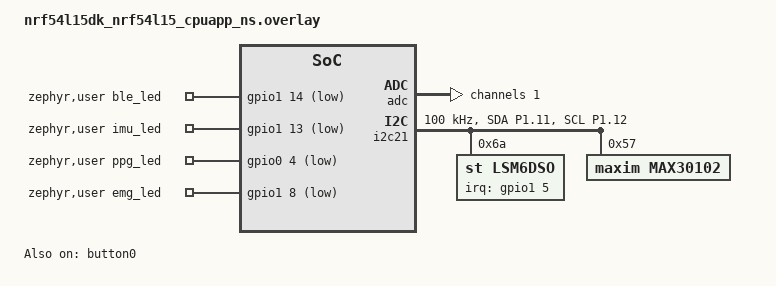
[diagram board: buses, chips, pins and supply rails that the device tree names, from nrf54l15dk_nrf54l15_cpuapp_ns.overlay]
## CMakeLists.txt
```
cmake_minimum_required(VERSION 3.20.0)
find_package(Zephyr REQUIRED HINTS $ENV{ZEPHYR_BASE})

project(firmware)

set(DTS_ROOT ${CMAKE_CURRENT_SOURCE_DIR})
list(APPEND ZEPHYR_EXTRA_MODULES ${CMAKE_CURRENT_SOURCE_DIR}/model)

target_sources(app PRIVATE 
    src/main.cpp
    src/ADC.c
    src/IMU.c
    src/PPG.cpp
    src/classifier.c
)
```

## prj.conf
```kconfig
# Core
CONFIG_MAIN_STACK_SIZE=8192
CONFIG_SYSTEM_WORKQUEUE_STACK_SIZE=8192
CONFIG_SYS_CLOCK_TICKS_PER_SEC=10000
CONFIG_IDLE_STACK_SIZE=2048
CONFIG_ISR_STACK_SIZE=4096

# Logging
# CONFIG_LOG=y
# CONFIG_LOG_DEFAULT_LEVEL=2

# Bluetooth 
CONFIG_BT=y
CONFIG_BT_PERIPHERAL=y
CONFIG_BT_DEVICE_NAME="nrf54_strength_training"

# Console output (RTT)
CONFIG_PRINTK=y
CONFIG_CONSOLE=y
CONFIG_USE_SEGGER_RTT=y
CONFIG_RTT_CONSOLE=y
CONFIG_UART_CONSOLE=n

# ADC
CONFIG_ADC=y

# I2C
CONFIG_I2C=y
# CONFIG_I2C_INIT_PRIORITY=60

# LSM6DSO
CONFIG_LSM6DSO=y
CONFIG_SENSOR=y
CONFIG_GPIO=y
CONFIG_LSM6DSO_TRIGGER_OWN_THREAD=y
# CONFIG_I2C_LOG_LEVEL_DBG=y
# CONFIG_LOG_DEFAULT_LEVEL=4
```

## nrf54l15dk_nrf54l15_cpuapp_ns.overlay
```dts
// To get started, press Ctrl+Space (or Option+Esc) to bring up the completion menu and view the available nodes.

// You can also use the buttons in the sidebar to perform actions on nodes.
// Actions currently available include:

// * Enabling / disabling the node
// * Adding the bus to a bus
// * Removing the node
// * Connecting ADC channels

// For more help, browse the DeviceTree documentation at https://docs.zephyrproject.org/latest/guides/dts/index.html
// You can also visit the nRF DeviceTree extension documentation at https://docs.nordicsemi.com/bundle/nrf-connect-vscode/page/guides/ncs_configure_app.html#devicetree-support-in-the-extension

/*
 * SPDX-License-Identifier: Apache-2.0
 *
 * Copyright (c) 2024 Nordic Semiconductor ASA
 */

/ {
	aliases {
		adc0 = &adc;
        imu0 = &lsm6dso;
	};

	zephyr,user {
		ble_led_gpios = <&gpio1 14 GPIO_ACTIVE_LOW>;
		imu_led_gpios = <&gpio1 13 GPIO_ACTIVE_LOW>;
		ppg_led_gpios = <&gpio0 4 GPIO_ACTIVE_LOW>;
		emg_led_gpios = <&gpio1 8 GPIO_ACTIVE_LOW>;
	};
};

&adc {
	#address-cells = <1>;
	#size-cells = <0>;

	channel@1 {
		reg = <1>;
		zephyr,gain = "ADC_GAIN_1_4";
		zephyr,reference = "ADC_REF_INTERNAL";
		zephyr,acquisition-time = <ADC_ACQ_TIME_DEFAULT>;
		zephyr,input-positive = <NRF_SAADC_AIN2>; /* P1.06 */
        zephyr,oversampling = <7>; // 128 samples
	};
};

&pinctrl {
    i2c21_default: i2c21_default {
        group1 {
            psels = <NRF_PSEL(TWIM_SDA, 1, 11)>,
                    <NRF_PSEL(TWIM_SCL, 1, 12)>;
        };
    };
    
    i2c21_sleep: i2c21_sleep {
        group1 {
            psels = <NRF_PSEL(TWIM_SDA, 1, 11)>,
                    <NRF_PSEL(TWIM_SCL, 1, 12)>;
            low-power-enable;
        };
    };
};

&i2c21 {
    status = "okay";
    clock-frequency = <I2C_BITRATE_STANDARD>;
    pinctrl-0 = <&i2c21_default>;
    pinctrl-1 = <&i2c21_sleep>;
    pinctrl-names = "default", "sleep";

    lsm6dso: lsm6dso@6a {
        compatible = "st,lsm6dso";
        reg = <0x6a>;
        status = "okay";
        irq-gpios = <&gpio1 5 GPIO_ACTIVE_HIGH>;
        accel-odr = <4>;
        gyro-odr = <4>;
    };


    max30102@57 {
        compatible = "maxim,max30102";
        reg = <0x57>;
        status = "okay";
        mode = <3>; // 3 = SpO2 mode, works 
        adc-rge = <2>; // adc range for spo2 config bits 6:5
        sr = <2>; // 200Hz sample rate for spo2 config bits 4:2
        smp-ave = <0>; // no sample averaging
        fifo-rollover-en; // overwrite old data when FIFO full
        fifo-a-full = <0xf>; // FIFO almost full threshold
        led1-pa = <0x2f>;    
        led2-pa = <0x2f>;
        
    };
};

&button0 {
	status = "okay";
};
```

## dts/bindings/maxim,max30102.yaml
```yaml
description: Maxim MAX30102 PPG Sensor

compatible: "maxim,max30102"

include: i2c-device.yaml

properties:
  smp-ave:
    type: int
    required: true
  fifo-rollover-en:
    type: boolean
  fifo-a-full:
    type: int
    required: true
  mode:
    type: int
    required: true
  adc-rge:
    type: int
    required: true
  sr:
    type: int
    required: true
  led1-pa:
    type: int
    required: true
  led2-pa:
    type: int
    required: true
```

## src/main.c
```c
#include <zephyr/kernel.h>
#include <zephyr/bluetooth/bluetooth.h>
#include <zephyr/bluetooth/hci.h>
#include <zephyr/bluetooth/conn.h>
#include <zephyr/bluetooth/gatt.h>
#include <zephyr/drivers/gpio.h>
#include "PPG.h"

/* ── Message types — keep in sync with RN app ── */
#define MSG_REP     0x01
#define MSG_BPM     0x02
#define MSG_FATIGUE 0x03

/* How often to send a BPM notification (ms).
 * The PPG buffer fills every 1 s at 200 Hz, so 1 s is the finest resolution. */
#define BPM_NOTIFY_PERIOD_MS 1000

static const struct bt_le_adv_param *adv_param = BT_LE_ADV_PARAM(
    BT_LE_ADV_OPT_CONNECTABLE,
    BT_GAP_ADV_FAST_INT_MIN_2,
    BT_GAP_ADV_FAST_INT_MAX_2,
    NULL);

static const struct bt_data ad[] = {
    BT_DATA_BYTES(BT_DATA_FLAGS, (BT_LE_AD_GENERAL | BT_LE_AD_NO_BREDR)),
    BT_DATA(BT_DATA_NAME_COMPLETE,
            CONFIG_BT_DEVICE_NAME,
            sizeof(CONFIG_BT_DEVICE_NAME) - 1),
};

static const struct bt_data sd[] = {
    BT_DATA_BYTES(BT_DATA_UUID128_ALL,
        BT_UUID_128_ENCODE(0x12340001, 0x0000, 0x0000, 0x0000, 0x000000000001)),
};

/* ── UUIDs — keep in sync with RN app ── */
#define REP_SVC_UUID \
    BT_UUID_DECLARE_128(BT_UUID_128_ENCODE( \
        0x12340001, 0x0000, 0x0000, 0x0000, 0x000000000001))

#define REP_CHAR_UUID \
    BT_UUID_DECLARE_128(BT_UUID_128_ENCODE( \
        0x12340001, 0x0000, 0x0000, 0x0000, 0x000000000002))

/* ── GATT service ── */
BT_GATT_SERVICE_DEFINE(rep_svc,
    BT_GATT_PRIMARY_SERVICE(REP_SVC_UUID),
    BT_GATT_CHARACTERISTIC(REP_CHAR_UUID,
        BT_GATT_CHRC_NOTIFY,
        BT_GATT_PERM_NONE,
        NULL, NULL, NULL),
    BT_GATT_CCC(NULL, BT_GATT_PERM_READ | BT_GATT_PERM_WRITE),
);

/* ── Generic 2-byte notify helper [msgType, value] ── */
static void notify(uint8_t msg_type, uint8_t value)
{
    uint8_t buf[2] = { msg_type, value };
    bt_gatt_notify(NULL, &rep_svc.attrs[2], buf, sizeof(buf));
    printk("Notified type=0x%02x value=%d\n", msg_type, value);
}

/* ── Connection callback — send BPM=0 to initialise the RN app ── */
static void on_connected(struct bt_conn *conn, uint8_t err)
{
    if (err) {
        printk("Connection failed (err %u)\n", err);
        return;
    }
    printk("Connected — sending initial BPM=0\n");
    notify(MSG_BPM, 0);
}

static void on_disconnected(struct bt_conn *conn, uint8_t reason)
{
    printk("Disconnected (reason %u) — restarting advertising\n", reason);
    bt_le_adv_start(adv_param, ad, ARRAY_SIZE(ad), NULL, 0);
}

static struct bt_conn_cb conn_callbacks = {
    .connected    = on_connected,
    .disconnected = on_disconnected,
};

/* ── BPM notify work + timer ────────────────────────────────────────────── */
static struct k_work bpm_work;
static struct k_timer bpm_timer;

static void bpm_work_handler(struct k_work *work)
{
    int32_t bpm = ppg_get_bpm();

    if (bpm < 0) {
        /* Buffer not yet full or no finger — skip this tick */
        return;
    }

    /* BPM is validated to 40–180 by the PPG driver, safe to cast to uint8_t */
    notify(MSG_BPM, (uint8_t)bpm);
}

static void bpm_timer_handler(struct k_timer *t)
{
    k_work_submit(&bpm_work);
}

/* ── Button 1 (sw1) — send rep notification ── */
static const struct gpio_dt_spec btn1 =
    GPIO_DT_SPEC_GET(DT_ALIAS(sw1), gpios);

static struct gpio_callback btn1_cb_data;

static void btn1_pressed(const struct device *dev,
                         struct gpio_callback *cb, uint32_t pins)
{
    notify(MSG_REP, 0x01);
}

/* ── Button 0 (sw0) — cycle fatigue level 0→1→2→0 ── */
static const struct gpio_dt_spec btn0 =
    GPIO_DT_SPEC_GET(DT_ALIAS(sw0), gpios);

static struct gpio_callback btn0_cb_data;
static uint8_t fatigue_level = 0;

static void btn0_pressed(const struct device *dev,
                         struct gpio_callback *cb, uint32_t pins)
{
    fatigue_level = (fatigue_level + 1) % 3;
    notify(MSG_FATIGUE, fatigue_level);
}

/* ── Button init ── */
static int button_init(void)
{
    /* sw1 — rep */
    if (!gpio_is_ready_dt(&btn1)) {
        printk("btn1 GPIO not ready\n");
        return -ENODEV;
    }
    gpio_pin_configure_dt(&btn1, GPIO_INPUT);
    gpio_pin_interrupt_configure_dt(&btn1, GPIO_INT_EDGE_TO_ACTIVE);
    gpio_init_callback(&btn1_cb_data, btn1_pressed, BIT(btn1.pin));
    gpio_add_callback(btn1.port, &btn1_cb_data);
    printk("Button 1 (rep) ready\n");

    /* sw0 — fatigue */
    if (!gpio_is_ready_dt(&btn0)) {
        printk("btn0 GPIO not ready\n");
        return -ENODEV;
    }
    gpio_pin_configure_dt(&btn0, GPIO_INPUT);
    gpio_pin_interrupt_configure_dt(&btn0, GPIO_INT_EDGE_TO_ACTIVE);
    gpio_init_callback(&btn0_cb_data, btn0_pressed, BIT(btn0.pin));
    gpio_add_callback(btn0.port, &btn0_cb_data);
    printk("Button 0 (fatigue) ready\n");

    return 0;
}

static const struct gpio_dt_spec ble_led = GPIO_DT_SPEC_GET(DT_PATH(zephyr_user), ble_led_gpios);

int main(void)
{
    printk("Starting firmware...\n");

    if (!gpio_is_ready_dt(&ble_led)) {
        return -1;
    }

    gpio_pin_configure_dt(&ble_led, GPIO_OUTPUT_INACTIVE); 

    bt_conn_cb_register(&conn_callbacks);

    if (bt_enable(NULL)) {
        printk("BT enable failed\n");
        return -1;
    }

    if (bt_le_adv_start(adv_param, ad, ARRAY_SIZE(ad), sd, ARRAY_SIZE(sd))) {
        printk("BT advertising failed\n");
        return -1;
    }

    gpio_pin_set_dt(&ble_led, 1);
    printk("BLE advertising as \"%s\"\n", CONFIG_BT_DEVICE_NAME);

    /* PPG — starts sampling at 200 Hz internally */
    if (ppg_init(HR_SAMPLE_RATE)) {
        printk("PPG init failed\n");
        return -1;
    }

    /* BPM notify timer — fires every BPM_NOTIFY_PERIOD_MS */
    k_work_init(&bpm_work, bpm_work_handler);
    k_timer_init(&bpm_timer, bpm_timer_handler, NULL);
    k_timer_start(&bpm_timer,
                  K_MSEC(BPM_NOTIFY_PERIOD_MS),
                  K_MSEC(BPM_NOTIFY_PERIOD_MS));

    button_init();

    while (1) {
        k_sleep(K_FOREVER);
    }

    return 0;
}
```

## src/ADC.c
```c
#include <zephyr/drivers/adc.h>
#include <zephyr/kernel.h>
#include <zephyr/sys/printk.h>
#include <math.h>
#include "ADC.h"
#include "IMU.h"
#include "PPG.hpp"

#define EMG_FREQUENCY   1000
#define EMG_PERIOD      K_USEC(1000000 / EMG_FREQUENCY)

static int32_t emg_filtered = 0;
#define EMG_LPF_ALPHA_NUM  1   // alpha = 1/8 → ~cutoff at fs/25
#define EMG_LPF_ALPHA_DEN  8   // integer-friendly: new = old*7/8 + new*1/8

static int32_t emg_dc_est = 0;
#define DC_ALPHA_NUM  1
#define DC_ALPHA_DEN  32

/* Variables for sampling */
int32_t emg_window[EMG_WINDOW_SIZE] = {0}; // cirucular buffer
emg_metrics_t emg_data;
static int32_t emg_idx;
int32_t emg_raw = 0;

/* Variables for ADC init*/
static uint16_t  channel_reading[SEQUENCE_SAMPLES]; // raw ADC values

static const struct adc_sequence_options options = {
    .extra_samplings = SEQUENCE_SAMPLES - 1,
    .interval_us     = 0,
};
static struct adc_sequence sequence = {
    .buffer      = channel_reading,
    .buffer_size = sizeof(channel_reading),
    .resolution  = SEQUENCE_RESOLUTION,
    .options     = &options,
    .channels    = 0,
};

static const struct device *adc = DEVICE_DT_GET(ADC_NODE);
static const struct adc_channel_cfg channel_cfgs[] = {
    DT_FOREACH_CHILD_SEP(ADC_NODE, ADC_CHANNEL_CFG_DT, (,))};
static uint32_t vrefs_mv[] = {
    DT_FOREACH_CHILD_SEP(ADC_NODE, CHANNEL_VREF, (,))};

/* Periodic timer handler */ 
static struct k_work emg_work;

static void EMG_handler(struct k_timer *timer_id)
{
    k_work_submit(&emg_work);
}

static void emg_work_handler(struct k_work *work)
{
    EMG_read();
}

K_TIMER_DEFINE(emg_timer, EMG_handler, NULL);

/* Integer square root using the Babylonian method */
static uint32_t isqrt32(uint32_t n)
{
    if (n == 0) return 0;
    uint32_t x = n, y = 1;
    while (x > y) { 
        x = (x + y) / 2; 
        y = n / x; 
    }
    return x;
}



int ADC_init(void)
{
    int err;
    if (!device_is_ready(adc)) {
        printk("ADC controller device %s not ready\n", adc->name);
        return -1;
    }

    /* Setup the channel */
    sequence.channels = BIT(channel_cfgs[0].channel_id);
    err = adc_channel_setup(adc, &channel_cfgs[0]);
    if (err < 0) {
        printk("Could not setup channel (%d)\n", err);
        return -1;
    }

    if ((vrefs_mv[0] == 0) && (channel_cfgs[0].reference == ADC_REF_INTERNAL)) {
        vrefs_mv[0] = adc_ref_internal(adc);
    }

    for (int i = 0; i < EMG_WINDOW_SIZE; ++i) {
        emg_window[i] = 0;
    }
    emg_idx = 0;

    /* Initialize timer */
    k_work_init(&emg_work, emg_work_handler);
    k_timer_start(&emg_timer, EMG_PERIOD, EMG_PERIOD);

    return 0;
}

void EMG_read() {
    int err;
    err = adc_read(adc, &sequence);
    if (err < 0) { printk("Could not read (%d)\n", err); return; }

    emg_raw = channel_reading[0];
    err = adc_raw_to_millivolts(vrefs_mv[0], channel_cfgs[0].gain,
                                SEQUENCE_RESOLUTION, &emg_raw);

    // IIR low-pass filter
    emg_filtered = emg_filtered * (EMG_LPF_ALPHA_DEN - EMG_LPF_ALPHA_NUM)
                   / EMG_LPF_ALPHA_DEN
                   + emg_raw * EMG_LPF_ALPHA_NUM
                   / EMG_LPF_ALPHA_DEN;

    // Update DC estimate (slow IIR)
    emg_dc_est = emg_dc_est * (DC_ALPHA_DEN - DC_ALPHA_NUM)
                 / DC_ALPHA_DEN
                 + emg_raw * DC_ALPHA_NUM
                 / DC_ALPHA_DEN;

    // High-pass: subtract DC estimate, then low-pass filter the result
    int32_t emg_ac = emg_raw - emg_dc_est;
    emg_filtered = emg_filtered * (EMG_LPF_ALPHA_DEN - EMG_LPF_ALPHA_NUM)
                   / EMG_LPF_ALPHA_DEN
                   + emg_ac * EMG_LPF_ALPHA_NUM
                   / EMG_LPF_ALPHA_DEN;

    emg_window[emg_idx] = emg_filtered;
    emg_idx = (emg_idx + 1) & (EMG_WINDOW_SIZE - 1);
}

int32_t *EMG_get_raw() { return &emg_raw; }

static int32_t *adaptive_threshold_ptr = NULL; // point this at the static inside compute

int32_t emg_adaptive_threshold = EMG_ACTIVATION_THRESHOLD_MV; // file-scope

/* Integer square root — already in file, reused below */

/* Compute EMG metrics over the last EMG_ANALYSIS_SAMPLES entries
 * in the circular emg_window buffer.
 *
 * emg_window is filled by EMG_read()() at ADC_FREQUENCY (4 kHz).
 * Each entry is already in mV (averaged over SEQUENCE_SAMPLES raw reads).
 * emg_idx points to the NEXT write slot, so reading backwards from there
 * gives the most recent data.
 *
 * Returns 0 on success, -EINVAL if out is NULL,
 * -EAGAIN if the buffer hasn't been filled enough yet.
 */
int EMG_compute_from_window()
{
    static bool window_ready = false;
    static int32_t adaptive_threshold = EMG_ACTIVATION_THRESHOLD_MV;
    static int32_t baseline_rms = 0;       // rolling rest-state RMS
    static uint32_t baseline_samples = 0;  // how many rest samples collected

    if (!window_ready) {
        if (emg_idx >= EMG_ANALYSIS_SAMPLES) window_ready = true;
        else return -EAGAIN;
    }

    /* ── Pass 1: mean (DC offset) ─────────────────────────────────── */
    int64_t sum = 0;
    int32_t min_mv = INT32_MAX;
    int32_t max_mv = INT32_MIN;

    uint32_t start = (emg_idx + EMG_WINDOW_SIZE - EMG_ANALYSIS_SAMPLES)
                      % EMG_WINDOW_SIZE;

    for (uint32_t n = 0; n < EMG_ANALYSIS_SAMPLES; n++) {
        uint32_t idx = (start + n) % EMG_WINDOW_SIZE;
        int32_t v = emg_window[idx];
        sum += v;
        if (v < min_mv) min_mv = v;
        if (v > max_mv) max_mv = v;
    }

    int32_t dc = (int32_t)(sum / EMG_ANALYSIS_SAMPLES);
    emg_data.dc_offset_mv = dc;
    emg_data.peak_to_peak_mv = max_mv - min_mv;

    /* ── Pass 2: AC metrics ───────────────────────────────────────── */
    int64_t sum_abs = 0;
    int64_t sum_sq  = 0;
    uint16_t zcr = 0;
    int32_t prev_ac = emg_window[start] - dc;

    for (uint32_t n = 0; n < EMG_ANALYSIS_SAMPLES; n++) {
        uint32_t idx = (start + n) % EMG_WINDOW_SIZE;
        int32_t  ac  = emg_window[idx] - dc;
        sum_abs += (ac < 0) ? -ac : ac;
        sum_sq  += (int64_t)ac * ac;
        if (n > 0) {
            if ((prev_ac < 0 && ac >= 0) || (prev_ac >= 0 && ac < 0)) zcr++;
        }
        prev_ac = ac;
    }

    emg_data.mav_mv = (int32_t)(sum_abs / EMG_ANALYSIS_SAMPLES);
    emg_data.rms_mv = (int32_t)isqrt32((uint32_t)(sum_sq / EMG_ANALYSIS_SAMPLES));
    emg_data.zcr    = zcr;

    /* ── Adaptive threshold update ───────────────────────────────── 
     * Only learn baseline when clearly at rest (RMS well below current
     * threshold). Use a slow exponential moving average so one noisy
     * window can't spike the baseline up.
     * Weight: new_baseline = old * 7/8 + current_rms * 1/8
     */
    bool currently_active = (emg_data.rms_mv > adaptive_threshold);

    if (!currently_active &&
        emg_data.rms_mv >= EMG_BASELINE_MIN_MV &&
        emg_data.rms_mv <= EMG_BASELINE_MAX_MV)
    {
        if (baseline_samples == 0) {
            /* Cold start: seed directly from first rest window */
            baseline_rms = emg_data.rms_mv;
        } else {
            /* Slow IIR — heavily weighted to old value to avoid drift */
            baseline_rms = (baseline_rms * 7 + emg_data.rms_mv * 1) / 8;
        }
        baseline_samples++;

        /* Recompute threshold — require at least 3 rest windows before
         * trusting the baseline to avoid a too-low cold-start threshold */
        if (baseline_samples >= 3) {
            int32_t new_thresh = baseline_rms * EMG_ACTIVATION_MULTIPLIER;
            /* Clamp to a sensible range */
            if (new_thresh < EMG_BASELINE_MIN_MV * 2) {
                new_thresh = EMG_BASELINE_MIN_MV * 2;
            }
            adaptive_threshold = new_thresh;
        }
    }

    emg_data.is_active   = (emg_data.rms_mv > adaptive_threshold);
    emg_data.fatigue_flag = emg_data.is_active && (emg_data.zcr < EMG_FATIGUE_ZCR_LOW);

    return 0;
}

emg_metrics_t *EMG_get_metrics() { return &emg_data; }
```

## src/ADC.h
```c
#ifndef _ADC_H_
#define _ADC_H_

#include <zephyr/drivers/adc.h>
#include <zephyr/kernel.h>
#include <stdint.h>
#include <stdbool.h>

#ifdef __cplusplus
extern "C" {
#endif

/* ── Sampling config ─────────────────────────────────────────────────────── */
#define SEQUENCE_SAMPLES      128    /* power-of-2 window for EMG analysis     */
#define SEQUENCE_RESOLUTION   12

/* ── ADC device-tree ─────────────────────────────────────────────────────── */
#define ADC_NODE        DT_ALIAS(adc0)
#define CHANNEL_VREF(node_id) DT_PROP_OR(node_id, zephyr_vref_mv, 0)
#define CHANNEL_COUNT 1

/* ── EMG activation thresholds ───────────────────────────────────────────── */
/* Tune these to your electrode placement / gain stage */
#define EMG_ACTIVATION_THRESHOLD_MV   90    // initial cold-start threshold
#define EMG_ACTIVATION_MULTIPLIER     2     // threshold = baseline * this
#define EMG_BASELINE_MIN_MV           15    // floor — never go below this
#define EMG_BASELINE_MAX_MV           300   // ceiling — ignore outliers
#define EMG_FATIGUE_ZCR_LOW           50

/* ── EMG result struct ───────────────────────────────────────────────────── */
/**
 * @brief Holds all per-window EMG metrics derived from a differential
 *        bipolar electrode pair placed over the biceps brachii.
 *
 * Interpretation guide
 * --------------------
 * peak_to_peak_mv  – gross signal amplitude; correlates with motor-unit
 *                    recruitment (more fibres firing → larger swing).
 * rms_mv           – true power estimate; standard "activation level" metric.
 *                    Use for force/contraction-intensity estimation.
 * mav_mv           – mean absolute value; computationally cheap alternative
 *                    to RMS, very common in prosthetics & HCI.
 * zcr              – zero-crossing rate; rough spectral index.
 *                    Fresh muscle → higher ZCR (~50-150 Hz median freq).
 *                    Fatiguing muscle → ZCR drops as MPF shifts downward.
 * is_active        – simple threshold gate: TRUE when RMS > threshold.
 * fatigue_flag     – heuristic: active but ZCR below expected range.
 * dc_offset_mv     – any residual DC; should be ~0 with good differential
 *                    electrodes; large offset hints at poor contact / motion.
 */
typedef struct {
    int32_t  peak_to_peak_mv;   /* max - min of window [mV]                  */
    int32_t  rms_mv;            /* sqrt( mean(x²) ) [mV]                     */
    int32_t  mav_mv;            /* mean( |x| ) [mV]                          */
    uint16_t zcr;               /* zero-crossing count in window             */
    int32_t  dc_offset_mv;      /* mean value (bias) [mV]                    */
    bool     is_active;         /* RMS > EMG_ACTIVATION_THRESHOLD_MV         */
    bool     fatigue_flag;      /* active + low ZCR heuristic                */
} emg_metrics_t;

#define EMG_WINDOW_SIZE (1<<10) // 1k
#define EMG_ANALYSIS_SAMPLES  256 

extern emg_metrics_t emg_data;
extern int32_t emg_window[];

/* ── Public API ──────────────────────────────────────────────────────────── */

/* Initializes ADC for channels in overlay */
int ADC_init(void);

/* Reads the data from the channel and displays it */
void EMG_read();

int32_t *EMG_get_raw();

int EMG_compute_from_window();

emg_metrics_t *EMG_get_metrics();

int32_t EMG_get_adaptive_threshold(void);

#ifdef __cplusplus
}
#endif

#endif /* _ADC_H_ */
```

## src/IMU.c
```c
/*
 * IMU.c - LSM6DSO IMU Driver
 * Senior Design - Strength Training
 *
 * - Timer-based periodic sampling (accel + gyro)
 * - Hardware interrupt on INT1 for significant motion detection
 */

#include "IMU.h"

#include <zephyr/kernel.h>
#include <zephyr/device.h>
#include <zephyr/devicetree.h>
#include <zephyr/drivers/sensor.h>
#include <zephyr/drivers/gpio.h>
#include <zephyr/drivers/i2c.h>
#include <zephyr/sys/printk.h>

/* Devices */
static const struct device *imu_dev = DEVICE_DT_GET(IMU_NODE);

static const struct gpio_dt_spec int1_gpio =
    GPIO_DT_SPEC_GET(DT_NODELABEL(lsm6dso), irq_gpios);

/* Work + Timer */
static struct k_work imu_work;
static struct gpio_callback gpio_cb;

K_TIMER_DEFINE(imu_timer, IMU_handler, NULL);

/* Timer Callback (interrupt context) */
void IMU_handler(struct k_timer *timer_id)
{
    k_work_submit(&imu_work);
}

/* Work Handler (work queue thread) */
static void imu_work_handler(struct k_work *work)
{
    IMU_sample();
}

/* Significant Motion Interrupt Handler */
static void int1_handler(const struct device *dev,
                         struct gpio_callback *cb, uint32_t pins)
{
    printk("IMU: Significant motion detected\n");
}

// Debug function to probe I2C device
int i2c_probe_device(const struct device *i2c_dev, uint16_t addr, const char *name)
{
    uint8_t test_byte = 0;
    
    printk("I2C: Probing %s at 0x%02x...\n", name, addr);
    
    // Try to read one byte from WHO_AM_I (0x0F for LSM6DSO)
    int ret = i2c_reg_read_byte(i2c_dev, addr, 0x0F, &test_byte);
    
    if (ret < 0) {
        printk("I2C: Failed to probe %s: %d\n", name, ret);
        return ret;
    }
    
    printk("I2C: %s responded to probe, WHO_AM_I=0x%02x\n", name, test_byte);
    return 0;
}

// Function to read WHO_AM_I register
int i2c_read_whoami(const struct device *i2c_dev, uint16_t addr, const char *name, 
                     uint8_t whoami_reg, uint8_t expected)
{
    uint8_t whoami = 0;
    int ret = i2c_reg_read_byte(i2c_dev, addr, whoami_reg, &whoami);
    
    if (ret < 0) {
        printk("I2C: Failed to read WHO_AM_I from %s: %d\n", name, ret);
        return ret;
    }
    
    printk("I2C: %s WHO_AM_I = 0x%02x (expected 0x%02x)\n", name, whoami, expected);
    
    if (whoami != expected) {
        printk("I2C: %s WHO_AM_I mismatch!\n", name);
        return -EIO;
    }
    
    return 0;
}

// Function to dump all relevant registers
void i2c_dump_registers(const struct device *i2c_dev, uint16_t addr, const char *name,
                         uint8_t start_reg, uint8_t num_regs)
{
    uint8_t regs[32] = {0};
    int ret;
    
    printk("I2C: %s Register dump (0x%02x+%d):\n", name, start_reg, num_regs);
    
    for (int i = 0; i < num_regs; i++) {
        ret = i2c_reg_read_byte(i2c_dev, addr, start_reg + i, &regs[i]);
        if (ret < 0) {
            printk("  Failed to read register 0x%02x: %d\n", start_reg + i, ret);
            return;
        }
        
        if (i % 8 == 0) {
            printk("  %02x: ", start_reg + i);
        }
        printk("%02x ", regs[i]);
        if ((i + 1) % 8 == 0 || i == num_regs - 1) {
            printk("\n");
        }
    }
}

// I2C bus scanner
void i2c_scan_bus(const struct device *i2c_dev)
{
    uint8_t data;
    int ret;
    
    printk("I2C: Scanning bus for devices...\n");
    printk("     ");
    for (uint8_t i = 0; i < 16; i++) {
        printk("%02x ", i);
    }
    printk("\n");
    
    for (uint8_t addr_base = 0x00; addr_base <= 0x70; addr_base += 0x10) {
        printk("0x%02x: ", addr_base);
        for (uint8_t offset = 0; offset < 0x10; offset++) {
            uint8_t addr = addr_base + offset;
            if (addr < 0x08 || addr > 0x77) {
                printk("   ");
                continue;
            }
            
            // Try to read any register
            ret = i2c_reg_read_byte(i2c_dev, addr, 0x0F, &data);
            
            if (ret >= 0) {
                printk("%02x ", addr);
                
                // Identify known devices
                if (addr == 0x6a || addr == 0x6b) {
                    uint8_t whoami = 0;
                    i2c_reg_read_byte(i2c_dev, addr, 0x0F, &whoami);
                    if (whoami == 0x6C) {
                        printk("[LSM6DSO] ");
                    }
                } else if (addr == 0x57) {
                    printk("[MAX30102] ");
                }
            } else {
                printk("-- ");
            }
        }
        printk("\n");
    }
    printk("I2C: Scan complete\n");
}

imu_data_t imu_data;

int IMU_init(int sample_rate_hz)
{
    int ret;
    const struct device *i2c_bus = DEVICE_DT_GET(DT_NODELABEL(i2c21));
    
    if (!device_is_ready(i2c_bus)) {
        printk("I2C: Bus i2c21 not ready!\n");
        return -ENODEV;
    }
    printk("I2C: Bus i2c21 is ready\n");
    
    // Scan the bus first
    i2c_scan_bus(i2c_bus);
    
    // Try both possible addresses for LSM6DSO
    uint16_t imu_addr = 0x6a;
    bool found = false;
    
    // Try address 0x6a
    ret = i2c_probe_device(i2c_bus, 0x6a, "LSM6DSO");
    if (ret == 0) {
        // Read WHO_AM_I to confirm
        ret = i2c_read_whoami(i2c_bus, 0x6a, "LSM6DSO", 0x0F, 0x6C);
        if (ret == 0) {
            found = true;
            imu_addr = 0x6a;
        }
    }
    
    // Try address 0x6b if 0x6a didn't work
    if (!found) {
        ret = i2c_probe_device(i2c_bus, 0x6b, "LSM6DSO");
        if (ret == 0) {
            ret = i2c_read_whoami(i2c_bus, 0x6b, "LSM6DSO", 0x0F, 0x6C);
            if (ret == 0) {
                found = true;
                imu_addr = 0x6b;
            }
        }
    }
    
    if (!found) {
        printk("IMU: No LSM6DSO device found on I2C bus!\n");
        printk("IMU: Please check:\n");
        printk("  - Power supply to IMU (VDD and VDDIO)\n");
        printk("  - I2C pull-up resistors (2.2k-10k ohms)\n");
        printk("  - CS pin tied to VDDIO (I2C mode)\n");
        printk("  - SA0 pin for address (GND=0x6a, VDDIO=0x6b)\n");
        return -ENODEV;
    }
    
    // Dump control registers before configuration
    printk("IMU: Dumping registers before init\n");
    i2c_dump_registers(i2c_bus, imu_addr, "LSM6DSO", 0x10, 8);  // CTRL1~CTL8
    i2c_dump_registers(i2c_bus, imu_addr, "LSM6DSO", 0x01, 1);  // WHO_AM_I
    
    // Try to read device ready status directly
    uint8_t status = 0;
    ret = i2c_reg_read_byte(i2c_bus, imu_addr, 0x1E, &status); // STATUS_REG
    if (ret == 0) {
        printk("IMU: STATUS_REG = 0x%02x\n", status);
    } else {
        printk("IMU: Failed to read STATUS_REG: %d\n", ret);
    }
    
    // Check if Zephyr sensor device is ready
    if (!device_is_ready(imu_dev)) {
        printk("IMU: Zephyr sensor device %s not ready\n", imu_dev->name);
        printk("IMU: Check your devicetree configuration\n");
        return -ENODEV;
    }
    
    // Reset the device to known state
    printk("IMU: Resetting device...\n");
    ret = i2c_reg_write_byte(i2c_bus, imu_addr, 0x12, 0x01); // CTRL3_C - SW_RESET
    if (ret < 0) {
        printk("IMU: Failed to reset device: %d\n", ret);
        return ret;
    }
    k_msleep(100); // Wait for reset to complete
    
    // Configure ODR and power modes
    // CTRL1_XL (0x10) - Accelerometer ODR and full scale
    printk("IMU: Configuring accelerometer...\n");
    ret = i2c_reg_write_byte(i2c_bus, imu_addr, 0x10, 0x60); // 416 Hz, 4g
    if (ret < 0) {
        printk("IMU: Failed to configure accelerometer: %d\n", ret);
        return ret;
    }
    
    // CTRL2_G (0x11) - Gyroscope ODR and full scale
    printk("IMU: Configuring gyroscope...\n");
    ret = i2c_reg_write_byte(i2c_bus, imu_addr, 0x11, 0x60); // 416 Hz, 1000 dps
    if (ret < 0) {
        printk("IMU: Failed to configure gyroscope: %d\n", ret);
        return ret;
    }
    
    // Verify configuration was written
    uint8_t verify_reg = 0;
    ret = i2c_reg_read_byte(i2c_bus, imu_addr, 0x10, &verify_reg);
    if (ret == 0) {
        printk("IMU: CTRL1_XL verification: 0x%02x (expected 0x60)\n", verify_reg);
    }
    
    ret = i2c_reg_read_byte(i2c_bus, imu_addr, 0x11, &verify_reg);
    if (ret == 0) {
        printk("IMU: CTRL2_G verification: 0x%02x (expected 0x60)\n", verify_reg);
    }
    
    imu_data.accel_x = 0;
    imu_data.accel_y = 0;
    imu_data.accel_z = 0;
    imu_data.gyro_x  = 0;
    imu_data.gyro_y  = 0;
    imu_data.gyro_z  = 0;
    
    uint32_t imu_period_us = 1000000U / (uint32_t)sample_rate_hz;
    k_work_init(&imu_work, imu_work_handler);
    k_timer_start(&imu_timer, K_USEC(imu_period_us), K_USEC(imu_period_us));
    
    printk("IMU: LSM6DSO initialized successfully at %d Hz\n", sample_rate_hz);
    
    // Final register dump to confirm
    printk("IMU: Final register state\n");
    i2c_dump_registers(i2c_bus, imu_addr, "LSM6DSO", 0x10, 8);
    
    return 0;
}

void IMU_sample(void)
{
    int err;
    struct sensor_value accel[3], gyro[3];

    err = sensor_sample_fetch(imu_dev);
    if (err < 0) {
        printk("IMU: sample fetch failed (%d)\n", err);
        return;
    }

    err = sensor_channel_get(imu_dev, SENSOR_CHAN_ACCEL_XYZ, accel);
    if (err < 0) {
        printk("IMU: accel channel get failed (%d)\n", err);
        return;
    }

    err = sensor_channel_get(imu_dev, SENSOR_CHAN_GYRO_XYZ, gyro);
    if (err < 0) {
        printk("IMU: gyro channel get failed (%d)\n", err);
        return;
    }

    /* Convert m/s² → mg */
    imu_data.accel_x = (int32_t)(accel[0].val1 * 1000 + accel[0].val2 / 1000);
    imu_data.accel_y = (int32_t)(accel[1].val1 * 1000 + accel[1].val2 / 1000);
    imu_data.accel_z = (int32_t)(accel[2].val1 * 1000 + accel[2].val2 / 1000);

    /* Convert rad/s → mdps */
    imu_data.gyro_x = (int32_t)((gyro[0].val1 * 1000000LL + gyro[0].val2) * 1000LL / 17453LL);
    imu_data.gyro_y = (int32_t)((gyro[1].val1 * 1000000LL + gyro[1].val2) * 1000LL / 17453LL);
    imu_data.gyro_z = (int32_t)((gyro[2].val1 * 1000000LL + gyro[2].val2) * 1000LL / 17453LL);
}

imu_data_t *IMU_get_data(void) { return &imu_data; }
```

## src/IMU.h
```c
#ifndef IMU_H
#define IMU_H

#include <zephyr/kernel.h>
#include <zephyr/device.h>
#include <zephyr/drivers/sensor.h>

#ifdef __cplusplus
extern "C" {
#endif

/* ── Devicetree ─────────────────────────────────────────────────────────── */
#define IMU_NODE DT_ALIAS(imu0)

/* ── IMU Data Structure ─────────────────────────────────────────────────── */
typedef struct {
    /* Accelerometer (mg) */
    int32_t accel_x;
    int32_t accel_y;
    int32_t accel_z;

    /* Gyroscope (mdps) */
    int32_t gyro_x;
    int32_t gyro_y;
    int32_t gyro_z;
} imu_data_t;

/* ── Function Declarations ──────────────────────────────────────────────── */

/* Initializes IMU, configures INT1 significant motion interrupt,
 * and starts periodic sampling timer at sample_rate_hz */
int IMU_init(int sample_rate_hz);
void IMU_sample(void);
imu_data_t *IMU_get_data(void);
void IMU_handler(struct k_timer *timer_id);

#ifdef __cplusplus
}
#endif

#endif /* IMU_H */
```

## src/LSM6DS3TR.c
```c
// /*
//  * IMU.c - LSM6DSL IMU Driver
//  * Senior Design - Strength Training
//  *
//  * - Timer-based periodic sampling (accel + gyro)
//  * - Hardware interrupt on INT1 for significant motion detection
//  */

// #include "LSM6DS3TR.h"

// #include <zephyr/kernel.h>
// #include <zephyr/device.h>
// #include <zephyr/devicetree.h>
// #include <zephyr/drivers/sensor.h>
// #include <zephyr/drivers/gpio.h>
// #include <zephyr/sys/printk.h>

// /* Devices */
// static const struct device *imu_dev = DEVICE_DT_GET(IMU_NODE);

// static const struct gpio_dt_spec int1_gpio =
//     GPIO_DT_SPEC_GET(DT_NODELABEL(lsm6dsl), irq_gpios);

// /* Work + Timer */
// static struct k_work imu_work;
// static struct gpio_callback gpio_cb;

// K_TIMER_DEFINE(imu_timer, IMU_handler, NULL);

// /* Timer Callback (interrupt context) */
// void IMU_handler(struct k_timer *timer_id)
// {
//     k_work_submit(&imu_work);
// }

// /* Work Handler (work queue thread) */
// static void imu_work_handler(struct k_work *work)
// {
//     IMU_sample();
// }

// /* Significant Motion Interrupt Handler */
// static void int1_handler(const struct device *dev,
//                          struct gpio_callback *cb, uint32_t pins)
// {
//     printk("IMU: Significant motion detected\n");
//     /* Motion detected - can be used to trigger other actions if needed */
// }

// imu_data_t imu_data;
// int IMU_init(int sample_rate_hz)
// {
//     /* Check IMU device is ready */
//     if (!device_is_ready(imu_dev)) {
//         printk("IMU: device %s not ready\n", imu_dev->name);
//         return -ENODEV;
//     }

//     /* Set accelerometer ODR */
//     struct sensor_value odr = {
//         .val1 = sample_rate_hz,
//         .val2 = 0,
//     };

//     if (sensor_attr_set(imu_dev, SENSOR_CHAN_ACCEL_XYZ,
//                         SENSOR_ATTR_SAMPLING_FREQUENCY, &odr) < 0) {
//         printk("IMU: could not set accel ODR to %d Hz\n", sample_rate_hz);
//         return -EIO;
//     }

//     if (sensor_attr_set(imu_dev, SENSOR_CHAN_GYRO_XYZ,
//                         SENSOR_ATTR_SAMPLING_FREQUENCY, &odr) < 0) {
//         printk("IMU: could not set gyro ODR to %d Hz\n", sample_rate_hz);
//         return -EIO;
//     }

//     /* ── Configure INT1 GPIO for significant motion interrupt ── */
//     if (!device_is_ready(int1_gpio.port)) {
//         printk("IMU: INT1 GPIO not ready\n");
//         return -ENODEV;
//     }

//     if (gpio_pin_configure_dt(&int1_gpio, GPIO_INPUT) < 0) {
//         printk("IMU: failed to configure INT1 pin\n");
//         return -EIO;
//     }

//     if (gpio_pin_interrupt_configure_dt(&int1_gpio,
//                                          GPIO_INT_EDGE_TO_ACTIVE) < 0) {
//         printk("IMU: failed to configure INT1 interrupt\n");
//         return -EIO;
//     }

//     gpio_init_callback(&gpio_cb, int1_handler, BIT(int1_gpio.pin));
//     gpio_add_callback(int1_gpio.port, &gpio_cb);

//     printk("IMU: INT1 significant motion interrupt configured on P1.05\n");

//     // init data struct
//     imu_data.accel_x = 0;
//     imu_data.accel_y = 0;
//     imu_data.accel_z = 0;
//     imu_data.gyro_x = 0;
//     imu_data.gyro_y = 0;
//     imu_data.gyro_z = 0;

//     /* Start periodic sampling timer */
//     uint32_t imu_period_us = 1000000U / (uint32_t)sample_rate_hz;
//     k_work_init(&imu_work, imu_work_handler);
//     k_timer_start(&imu_timer, K_USEC(imu_period_us), K_USEC(imu_period_us));

//     printk("IMU: initialized at %d Hz\n", sample_rate_hz);

//     return 0;
// }

// void IMU_sample(void)
// {
//     int err;
//     struct sensor_value accel[3], gyro[3];

//     err = sensor_sample_fetch(imu_dev);
//     if (err < 0) {
//         printk("IMU: sample fetch failed (%d)\n", err);
//         return;
//     }

//     err = sensor_channel_get(imu_dev, SENSOR_CHAN_ACCEL_XYZ, accel);
//     if (err < 0) {
//         printk("IMU: accel channel get failed (%d)\n", err);
//         return;
//     }

//     err = sensor_channel_get(imu_dev, SENSOR_CHAN_GYRO_XYZ, gyro);
//     if (err < 0) {
//         printk("IMU: gyro channel get failed (%d)\n", err);
//         return;
//     }

//     /* Convert m/s² → mg */
//     imu_data.accel_x = (int32_t)(accel[0].val1 * 1000 + accel[0].val2 / 1000);
//     imu_data.accel_y = (int32_t)(accel[1].val1 * 1000 + accel[1].val2 / 1000);
//     imu_data.accel_z = (int32_t)(accel[2].val1 * 1000 + accel[2].val2 / 1000);

//     /* Convert rad/s → mdps */
//     imu_data.gyro_x = (int32_t)((gyro[0].val1 * 1000000LL + gyro[0].val2) * 1000LL / 17453LL);
//     imu_data.gyro_y = (int32_t)((gyro[1].val1 * 1000000LL + gyro[1].val2) * 1000LL / 17453LL);
//     imu_data.gyro_z = (int32_t)((gyro[2].val1 * 1000000LL + gyro[2].val2) * 1000LL / 17453LL);
// }

// imu_data_t *IMU_get_data(void) { return &imu_data; }
```

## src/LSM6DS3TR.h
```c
// /*
//  * LSM6DS3TR.h - Compatible with LSM6DSL IMU Driver
//  * Senior Design - Strength Training
//  */

// #ifndef LSM6DS3TR_H
// #define LSM6DS3TR_H

// #include <zephyr/kernel.h>
// #include <zephyr/device.h>
// #include <zephyr/drivers/sensor.h>

// /* ── Devicetree ─────────────────────────────────────────────────────────── */
// #define IMU_NODE DT_ALIAS(imu0)

// /* ── IMU Data Structure ─────────────────────────────────────────────────── */
// typedef struct {
//     /* Accelerometer (mg) */
//     int32_t accel_x;
//     int32_t accel_y;
//     int32_t accel_z;

//     /* Gyroscope (mdps) */
//     int32_t gyro_x;
//     int32_t gyro_y;
//     int32_t gyro_z;
// } imu_data_t;

// /* ── Function Declarations ──────────────────────────────────────────────── */

// /* Initializes IMU, configures INT1 significant motion interrupt,
//  * and starts periodic sampling timer at sample_rate_hz */
// int IMU_init(int sample_rate_hz);

// /* Samples and stores IMU data */
// void IMU_sample(void);

// /* Returns pointer to latest IMU data struct */
// imu_data_t *IMU_get_data(void);

// /* Timer callback — do not call directly */
// void IMU_handler(struct k_timer *timer_id);

// #endif /* LSM6DS3TR_H */
```

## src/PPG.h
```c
/*
 * PPG.h - MAX30102 PPG Sensor Driver Header
 * Senior Design - Strength Training
 */

#ifndef PPG_H
#define PPG_H

#include <zephyr/drivers/i2c.h>
#include <zephyr/drivers/sensor.h>

/* ── Devicetree ─────────────────────────────────────────────────────────── */
#define DT_DRV_COMPAT maxim_max30102

/* ── I2C Address ────────────────────────────────────────────────────────── */
#define MAX30102_I2C_ADDR 0x57

/* ── Register Map ───────────────────────────────────────────────────────── */
#define MAX30102_REG_INT_STS1   0x00
#define MAX30102_REG_FIFO_DATA  0x07
#define MAX30102_REG_FIFO_CFG   0x08
#define MAX30102_REG_MODE_CFG   0x09
#define MAX30102_REG_SPO2_CFG   0x0A
#define MAX30102_REG_LED1_PA    0x0C
#define MAX30102_REG_LED2_PA    0x0D
#define MAX30102_REG_PART_ID    0xFF

/* ── Constants ──────────────────────────────────────────────────────────── */
#define MAX30102_PART_ID            0x15
#define MAX30102_BYTES_PER_CHANNEL  3
#define MAX30102_MAX_NUM_CHANNELS   2
#define MAX30102_FIFO_DATA_MASK     0x3FFFF

/* ── Bit Masks / Shifts ─────────────────────────────────────────────────── */
#define MAX30102_MODE_CFG_RESET_MASK    (1 << 6)
#define MAX30102_FIFO_CFG_SMP_AVE_SHIFT 5
#define MAX30102_FIFO_CFG_ROLLOVER_MASK (1 << 4)
#define MAX30102_FIFO_CFG_FULL_SHIFT    0
#define MAX30102_SPO2_ADC_RGE_SHIFT     5
#define MAX30102_SPO2_SR_SHIFT          2
#define MAX30102_SPO2_PW_SHIFT          0

/* ── Pulse Width ────────────────────────────────────────────────────────── */
#define MAX30102_PW_18BITS  3

/* ── Heart Rate ─────────────────────────────────────────────────────────── */
#define HR_SAMPLE_RATE   200
#define HR_MIN_BPM       40
#define HR_MAX_BPM       240

/*
 * 600 samples = 3 seconds at 200 Hz.
 * Guarantees >= 2 peaks even at 40 BPM, giving at least 1 inter-peak
 * interval to compute from. Memory cost: 600 x 4 = 2.4 kB.
 */
#define HR_BUFFER_SIZE   600

#define HR_MIN_VALID_IR  5000

/* ── LED Channel Enum ───────────────────────────────────────────────────── */
enum max30102_led_channel {
    MAX30102_LED_CHANNEL_RED = 0,
    MAX30102_LED_CHANNEL_IR  = 1,
};

/* ── Config Struct ──────────────────────────────────────────────────────── */
struct max30102_config {
    const struct i2c_dt_spec i2c;
    uint8_t fifo;
    uint8_t mode;
    uint8_t spo2;
    uint8_t led_pa[MAX30102_MAX_NUM_CHANNELS];
};

/* ── Data Struct ────────────────────────────────────────────────────────── */
typedef struct max30102_data {
    uint32_t raw[MAX30102_MAX_NUM_CHANNELS];
    uint32_t ir_buffer[HR_BUFFER_SIZE];
    uint16_t ir_buf_idx;   /* uint16_t — HR_BUFFER_SIZE > 255 */
    bool     ir_buf_full;
    int32_t  bpm;
} ppg_data_t;

/* ── Application API ────────────────────────────────────────────────────── */
int ppg_init(int sample_rate_hz);
void ppg_read(void);
struct sensor_value *ppg_get_data(void);

/**
 * @brief Get the latest computed heart rate.
 *
 * Computed via inter-peak interval averaging over a 3-second IR window.
 * Returns -1 if the buffer is not yet full, no finger is detected, or
 * fewer than 2 peaks were found (cannot form an interval).
 */
int32_t ppg_get_bpm(void);

int32_t ppg_get_confidence(void);

#endif /* PPG_H */
```

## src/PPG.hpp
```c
/*
 * PPG.h - MAX30102 PPG Sensor Driver Header
 * Senior Design - Strength Training
 */

#ifndef PPG_H
#define PPG_H

#ifdef __cplusplus
extern "C" {
#endif

#include <zephyr/drivers/i2c.h>
#include <zephyr/drivers/sensor.h>

/* ── Devicetree ─────────────────────────────────────────────────────────── */
#define DT_DRV_COMPAT maxim_max30102

/* ── I2C Address ────────────────────────────────────────────────────────── */
#define MAX30102_I2C_ADDR 0x57

/* ── Register Map ───────────────────────────────────────────────────────── */
#define MAX30102_REG_INT_STS1   0x00
#define MAX30102_REG_FIFO_DATA  0x07
#define MAX30102_REG_FIFO_CFG   0x08
#define MAX30102_REG_MODE_CFG   0x09
#define MAX30102_REG_SPO2_CFG   0x0A
#define MAX30102_REG_LED1_PA    0x0C
#define MAX30102_REG_LED2_PA    0x0D
#define MAX30102_REG_PART_ID    0xFF

/* ── Constants ──────────────────────────────────────────────────────────── */
#define MAX30102_PART_ID            0x15
#define MAX30102_BYTES_PER_CHANNEL  3
#define MAX30102_MAX_NUM_CHANNELS   2
#define MAX30102_FIFO_DATA_MASK     0x3FFFF

/* ── Bit Masks / Shifts ─────────────────────────────────────────────────── */
#define MAX30102_MODE_CFG_RESET_MASK    (1 << 6)
#define MAX30102_FIFO_CFG_SMP_AVE_SHIFT 5
#define MAX30102_FIFO_CFG_ROLLOVER_MASK (1 << 4)
#define MAX30102_FIFO_CFG_FULL_SHIFT    0
#define MAX30102_SPO2_ADC_RGE_SHIFT     5
#define MAX30102_SPO2_SR_SHIFT          2
#define MAX30102_SPO2_PW_SHIFT          0

/* ── Pulse Width ────────────────────────────────────────────────────────── */
#define MAX30102_PW_18BITS  3

/* ── Heart Rate ─────────────────────────────────────────────────────────── */
#define HR_SAMPLE_RATE   200
#define HR_MIN_BPM       40
#define HR_MAX_BPM       240

/*
 * 600 samples = 3 seconds at 200 Hz.
 * Guarantees >= 2 peaks even at 40 BPM, giving at least 1 inter-peak
 * interval to compute from. Memory cost: 600 x 4 = 2.4 kB.
 */
#define HR_BUFFER_SIZE   600

#define HR_MIN_VALID_IR  2000

/* ── LED Channel Enum ───────────────────────────────────────────────────── */
enum max30102_led_channel {
    MAX30102_LED_CHANNEL_RED = 0,
    MAX30102_LED_CHANNEL_IR  = 1,
};

/* ── Config Struct ──────────────────────────────────────────────────────── */
struct max30102_config {
    const struct i2c_dt_spec i2c;
    uint8_t fifo;
    uint8_t mode;
    uint8_t spo2;
    uint8_t led_pa[MAX30102_MAX_NUM_CHANNELS];
};

/* ── Data Struct ────────────────────────────────────────────────────────── */
typedef struct max30102_data {
    uint32_t raw[MAX30102_MAX_NUM_CHANNELS];
    uint32_t ir_buffer[HR_BUFFER_SIZE];
    uint16_t ir_buf_idx;   /* uint16_t — HR_BUFFER_SIZE > 255 */
    bool     ir_buf_full;
    int32_t  bpm;
} ppg_data_t;

/* ── Application API ────────────────────────────────────────────────────── */
int ppg_init(int sample_rate_hz);
void ppg_read(void);
struct sensor_value *ppg_get_data(void);

/**
 * @brief Get the latest computed heart rate.
 *
 * Computed via inter-peak interval averaging over a 3-second IR window.
 * Returns -1 if the buffer is not yet full, no finger is detected, or
 * fewer than 2 peaks were found (cannot form an interval).
 */
int32_t ppg_get_bpm(void);

int32_t ppg_get_confidence(void);

#ifdef __cplusplus
}
#endif

#endif /* PPG_H */
```

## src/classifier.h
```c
#ifndef CLASSIFIER_H
#define CLASSIFIER_H
/*
 * classifier.h — Rep Detection & Fatigue Classification
 * Senior Design - Strength Training
 *
 * Uses EMG (primary) + PPG heart rate (secondary).
 * IMU is intentionally excluded (hardware unavailable).
 *
 * Rep detection:
 *   A 3-state FSM tracks EMG activation bursts:
 *     IDLE → ACTIVE (EMG goes active)
 *     ACTIVE → COOLDOWN (EMG goes quiet AND burst was long enough → rep counted)
 *     ACTIVE → IDLE (burst too short → noise, discarded)
 *     COOLDOWN → IDLE (after REP_COOLDOWN_MS rest)
 *
 * Fatigue classification (0–3):
 *   Score = emg_score (0–2) + hr_score (0–2), clamped to 0–3.
 *
 *   emg_score:
 *     2 → fatigue_flag set (active + ZCR below low threshold)
 *     1 → ZCR trend has dropped ≥25% over last 3 reps (median-freq shift)
 *     0 → no fatigue indicators
 *
 *   hr_score:
 *     2 → HR ≥ 150 BPM
 *     1 → HR ≥ 120 BPM
 *     0 → HR < 120 or no finger
 *
 *   total → FATIGUE_NONE(0), MILD(1), MODERATE(2), SEVERE(3)
 */

#ifdef __cplusplus
extern "C" {
#endif

#include <stdint.h>
#include <stdbool.h>

/* ── Fatigue level enum ──────────────────────────────────────────────── */
typedef enum {
    FATIGUE_NONE     = 0,  /* No indicators present                     */
    FATIGUE_MILD     = 1,  /* One weak signal (e.g. high HR alone)       */
    FATIGUE_MODERATE = 2,  /* EMG fatigue flag OR EMG trend + elevated HR*/
    FATIGUE_SEVERE   = 3,  /* EMG fatigue flag AND high HR               */
} fatigue_level_t;

/* ── Classifier output snapshot ─────────────────────────────────────── */
typedef struct {
    uint16_t        rep_count;      /* total reps counted this session   */
    fatigue_level_t fatigue_level;  /* current fatigue (0–3)             */
    bool            new_rep;        /* true for exactly one tick after rep*/
} classifier_result_t;

/* ── Public API ──────────────────────────────────────────────────────── */

/**
 * classifier_init() - Reset all state. Call once before sampling begins.
 */
void classifier_init(void);

/**
 * classifier_update() - Process latest EMG & PPG data.
 *
 * Must be called at a fixed CLASSIFIER_PERIOD_MS rate (default 100 ms).
 * Internally calls EMG_compute_from_window() and ppg_get_bpm().
 *
 * Returns a pointer to the internal result struct (never NULL).
 * new_rep is only true for a single call immediately after a rep is
 * counted; the caller must act on it before the next call.
 */
classifier_result_t *classifier_update(void);

/** Accessors — safe to call from any context after classifier_init(). */
uint16_t        classifier_get_rep_count(void);
fatigue_level_t classifier_get_fatigue_level(void);

#ifdef __cplusplus
}
#endif

#endif // CLASSIFIER_H
```
